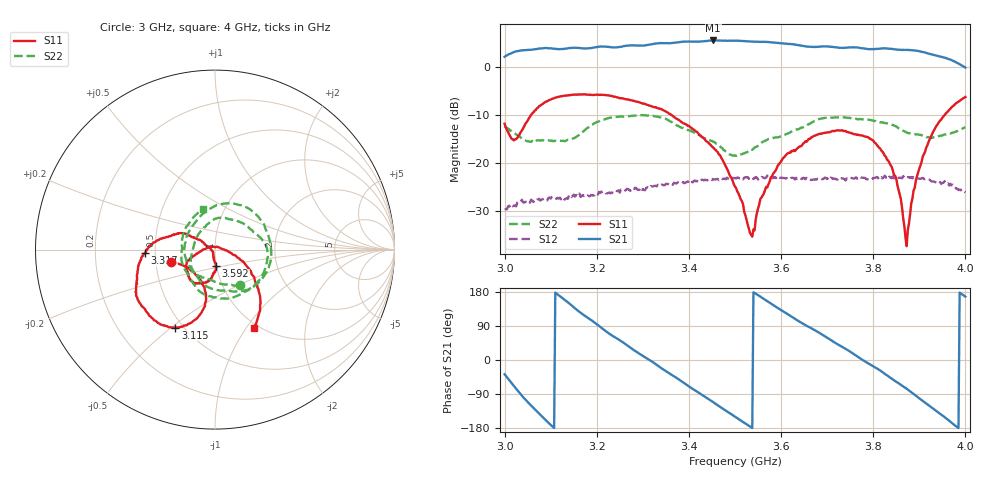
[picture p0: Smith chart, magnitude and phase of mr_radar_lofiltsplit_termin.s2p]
!Agilent Technologies,E8358A,US40260201,A.04.06
!Agilent E8358A: A.04.06
!Date: Saturday, February 25, 2012 15:54:25
!Correction: S11(Full 2 Port SOLT,1,2) S21(Full 2 Port SOLT,1,2) S12(Full 2 Port SOLT,1,2) S22(Full 2 Port SOLT,1,2)
!S2P File: Measurements: S11, S21, S12, S22:
# Hz S  MA  R 50
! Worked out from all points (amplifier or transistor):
!   401 points, 3 GHz to 4 GHz, reference 50 ohm
!   highest |S21| = 5.5 dB at 3.453 GHz (marker M1)
!   |S21| within 3 dB of that: 3.007 GHz to 3.93 GHz (923.2 MHz wide, 26.6 % of centre)
!   unconditionally stable (mu >= 1): start of sweep to end of sweep
!   at 3.165 GHz: K = 5.13, MAG = 5.4 dB, |S12| = -27.1 dB
!   at 3.5 GHz: K = 3.80, MAG = 5.6 dB, |S12| = -23.1 dB
!   at 4 GHz: K = 7.38, MAG = 1.3 dB, |S12| = -26.1 dB
!   S11 on the Smith chart (normalised r, x): 3 GHz: 0.60, -0.09; 3.115 GHz: 0.45, -0.52; 3.317 GHz: 0.44, -0.02; 3.592 GHz: 0.99, -0.19; 4 GHz: 0.95, -1.09
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3e9  0.2568 -164.7  1.281 -37.6  0.03288 -91.1  0.2409 -54.9
3.025e9  0.1777 -122.6  1.459 -75.9  0.03543 -130.1  0.1992 -76.4
3.0475e9  0.2666 -100.9  1.504 -107.7  0.03951 -162.3  0.17 -98.9
3.085e9  0.4218 -107.4  1.573 -153.6  0.04221 153.8  0.1732 -138.3
3.115e9  0.487 -117.0  1.54 173.2  0.04356 123.3  0.1699 -173.4
3.1675e9  0.5182 -132.5  1.57 122.3  0.04572 73.8  0.2088 110.1
3.225e9  0.5084 -150.0  1.621 71.1  0.04885 24.1  0.2941 52.8
3.275e9  0.4513 -163.2  1.683 30.9  0.05279 -13.1  0.3107 6.6
3.3175e9  0.3932 -177.0  1.722 -2.0  0.05768 -46.1  0.3115 -26.8
3.335e9  0.3716 178.3  1.772 -17.0  0.05765 -60.3  0.3017 -39.1
3.3975e9  0.2439 160.4  1.843 -67.6  0.06463 -109.3  0.2209 -90.9
3.4525e9  0.1457 151.5  1.893 -111.2  0.06844 -151.1  0.1664 -139.1
3.5e9  0.05701 154.1  1.878 -149.5  0.06992 172.5  0.1205 165.0
3.5375e9  0.01715 -133.7  1.843 -179.3  0.07125 143.8  0.1375 113.3
3.5925e9  0.0936 -86.5  1.782 137.4  0.06794 102.1  0.1859 67.8
3.6675e9  0.1858 -104.9  1.619 82.5  0.06701 46.9  0.266 13.2
3.7025e9  0.2088 -116.5  1.637 56.7  0.07016 23.4  0.2946 -10.4
3.76e9  0.1996 -138.8  1.602 13.8  0.06921 -18.8  0.2912 -51.6
3.835e9  0.101 -167.3  1.554 -45.0  0.07237 -77.4  0.2575 -103.0
3.8725e9  0.01364 77.0  1.508 -75.8  0.06971 -105.2  0.2094 -132.5
3.9425e9  0.2671 -35.1  1.298 -139.3  0.06492 -168.8  0.191 164.1
4e9  0.488 -63.5  0.9884 167.3  0.04954 140.0  0.2369 106.0
